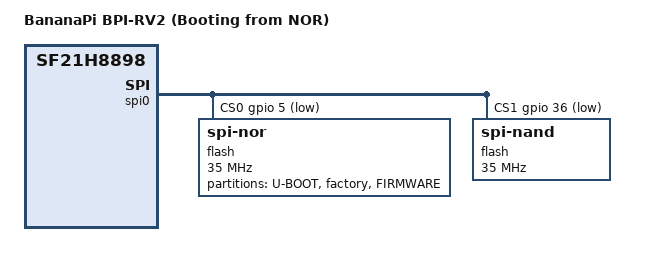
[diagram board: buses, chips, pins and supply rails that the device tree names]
// SPDX-License-Identifier: GPL-2.0

/dts-v1/;
#include "sf21h8898_bpi-rv2.dtsi"
/ {
	model = "BananaPi BPI-RV2 (Booting from NOR)";
	compatible = "bananapi,bpi-rv2-nor", "siflower,sf21h8898";

	chosen {
		stdout-path = &uart1;
		tick-timer = &timer;
	};
};

&spi0 {
	status = "okay";
	num-cs = <2>;
	cs-gpios = <&gpio 5 GPIO_ACTIVE_LOW>, <&gpio 36 GPIO_ACTIVE_LOW>;

	flash@0 {
		compatible = "jedec,spi-nor";
		reg = <0>;
		spi-max-frequency = <35000000>;
		spi-tx-bus-width = <2>;
		spi-rx-bus-width = <2>;
		#address-cells = <1>;
		#size-cells = <1>;

		partitions {
			compatible = "fixed-partitions";
			#address-cells = <1>;
			#size-cells = <1>;

			partition0@0 {
				label = "U-BOOT";
				reg = <0x0 0x90000>;
			};

			factory: partition@90000 {
				label = "factory";
				reg = <0x90000 0x10000>;
			};

			partition@a0000 {
				label = "FIRMWARE";
				reg = <0xa0000 0xf60000>;
				compatible = "denx,fit";
			};
		};
	};

	flash@1 {
		compatible = "spi-nand";
		reg = <1>;
		spi-max-frequency = <35000000>;
		spi-tx-bus-width = <2>;
		spi-rx-bus-width = <2>;
		#address-cells = <1>;
		#size-cells = <1>;
	};
};
